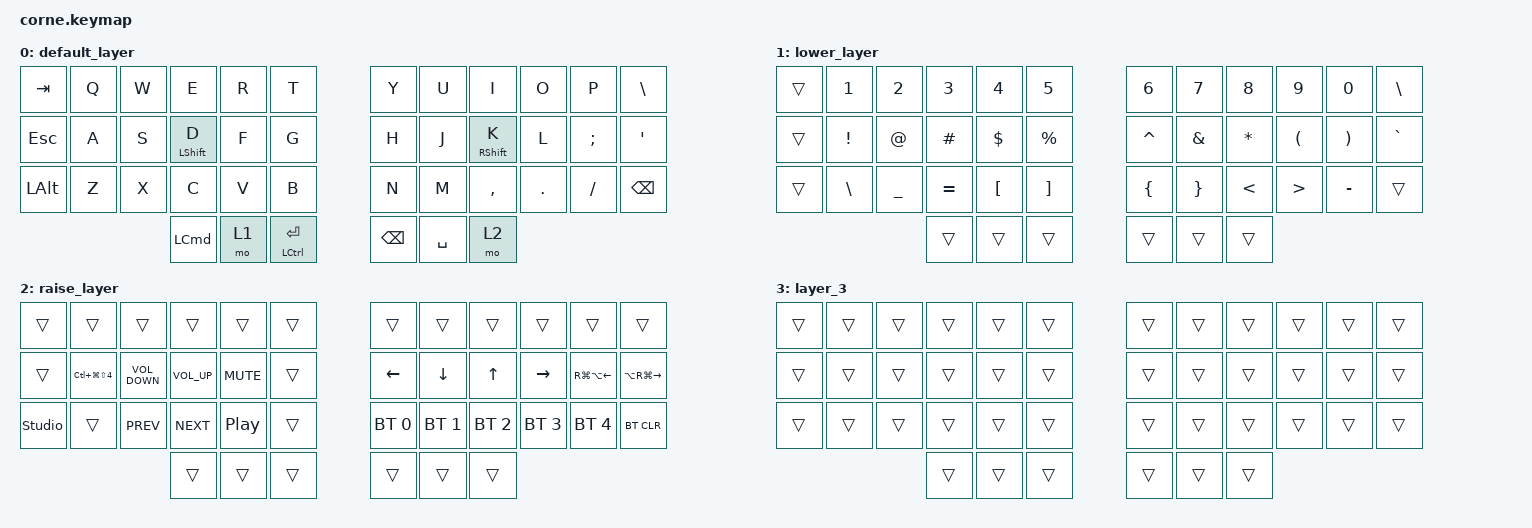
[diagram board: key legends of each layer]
/*
 * Copyright (c) 2020 The ZMK Contributors
 *
 * SPDX-License-Identifier: MIT
 */

#include <behaviors.dtsi>
#include <dt-bindings/zmk/bt.h>
#include <dt-bindings/zmk/keys.h>

/ {
    behaviors {
        // Home-row Shift: tap for the letter, hold for Shift.
        // Key positions (Corne 42): rows of 12, thumbs are 36-41.
        //   Left hand:  0-5, 12-17, 24-29, thumbs 36-38
        //   Right hand: 6-11, 18-23, 30-35, thumbs 39-41
        // hold-trigger-key-positions: only keys on the OTHER hand (plus all thumbs) can turn
        //   the key into Shift. Same-hand rolls like "df" or "kl" always type letters.
        // balanced: Shift only if the other key is pressed AND released while this one is held.
        // require-prior-idle-ms: pressed within this long after another key, it is always the
        //   letter. Lower it if a fast Space -> capital letter comes out lowercase.
        // quick-tap-ms: tap then hold again quickly to auto-repeat the letter.
        hrs_left: home_row_shift_left {
            compatible = "zmk,behavior-hold-tap";
            display-name = "Home Row Shift (Left)";
            #binding-cells = <2>;
            flavor = "balanced";
            tapping-term-ms = <200>;
            quick-tap-ms = <175>;
            require-prior-idle-ms = <50>;
            hold-trigger-key-positions = <6 7 8 9 10 11 18 19 20 21 22 23 30 31 32 33 34 35 36 37 38 39 40 41>;
            bindings = <&kp>, <&kp>;
        };
        hrs_right: home_row_shift_right {
            compatible = "zmk,behavior-hold-tap";
            display-name = "Home Row Shift (Right)";
            #binding-cells = <2>;
            flavor = "balanced";
            tapping-term-ms = <200>;
            quick-tap-ms = <175>;
            require-prior-idle-ms = <50>;
            hold-trigger-key-positions = <0 1 2 3 4 5 12 13 14 15 16 17 24 25 26 27 28 29 36 37 38 39 40 41>;
            bindings = <&kp>, <&kp>;
        };
    };

    keymap {
        compatible = "zmk,keymap";

        default_layer {
            // -----------------------------------------------------------------------------------------
            // |  TAB    |  Q  |  W  |  E  |  R  |  T  |   |  Y  |  U  |  I  |  O  |  P  |  \   |
            // |  ESC    |  A  |  S  |D/SFT|  F  |  G  |   |  H  |  J  |K/SFT|  L  |  ;  |  '   |
            // |   ALT   |  Z  |  X  |  C  |  V  |  B  |   |  N  |  M  |  ,  |  .  |  /  | BSPC |
            //                       | CMD | LWR | RET/CTRL |   | BSPC | SPC | RSE |

            bindings = <
&kp TAB               &kp Q  &kp W  &kp E                   &kp R  &kp T               &kp Y                     &kp U      &kp I      &kp O       &kp P     &kp BACKSLASH
&kp ESCAPE            &kp A  &kp S  &hrs_left LSHIFT D     &kp F  &kp G               &kp H                     &kp J      &hrs_right RSHIFT K  &kp L       &kp SEMI  &kp SQT
&kp LEFT_ALT          &kp Z  &kp X  &kp C                   &kp V  &kp B               &kp N                     &kp M      &kp COMMA  &kp PERIOD  &kp FSLH  &kp BACKSPACE
                                    &kp LEFT_COMMAND        &mo 1  &mt LCTRL RETURN    &kp BACKSPACE  &kp SPACE  &mo 2
            >;
        };

        lower_layer {
            // -----------------------------------------------------------------------------------------
            // |  TAB |  1  |  2  |  3  |  4  |  5  |   |  6  |  7  |  8  |  9  |  0  | BSPC |
            // | BTCLR| BT1 | BT2 | BT3 | BT4 | BT5 |   | LFT | DWN |  UP | RGT |     |      |
            // | SHFT |     |     |     |     |     |   |     |     |     |     |     |      |
            //                    | GUI |     | SPC |   | ENT |     | ALT |

            bindings = <
&trans  &kp N1           &kp N2          &kp N3     &kp N4            &kp N5               &kp N6          &kp N7           &kp N8         &kp N9                &kp N0                 &kp BACKSLASH
&trans  &kp EXCLAMATION  &kp AT_SIGN     &kp HASH   &kp DOLLAR        &kp PERCENT          &kp CARET       &kp AMPERSAND    &kp ASTERISK   &kp LEFT_PARENTHESIS  &kp RIGHT_PARENTHESIS  &kp GRAVE
&trans  &kp BACKSLASH    &kp UNDERSCORE  &kp EQUAL  &kp LEFT_BRACKET  &kp RIGHT_BRACKET    &kp LEFT_BRACE  &kp RIGHT_BRACE  &kp LESS_THAN  &kp GREATER_THAN      &kp MINUS              &trans
                                         &trans     &trans            &trans               &trans          &trans           &trans
            >;
        };

        raise_layer {
            // -----------------------------------------------------------------------------------------
            // |  TAB |  !  |  @  |  #  |  $  |  %  |   |  ^  |  &  |  *  |  (  |  )  | BSPC |
            // | CTRL |     |     |     |     |     |   |  -  |  =  |  [  |  ]  |  \  |  `   |
            // | SHFT |     |     |     |     |     |   |  _  |  +  |  {  |  }  | "|" |  ~   |
            //                    | GUI |     | SPC |   | ENT |     | ALT |

            bindings = <
&trans  &trans                    &trans             &trans           &trans            &trans    &trans          &trans          &trans        &trans           &trans                  &trans
&trans  &kp LC(LG(LS(NUMBER_4)))  &kp C_VOLUME_DOWN  &kp C_VOLUME_UP  &kp K_MUTE        &trans    &kp LEFT_ARROW  &kp DOWN_ARROW  &kp UP_ARROW  &kp RIGHT_ARROW  &kp RG(LA(LEFT_ARROW))  &kp LA(RG(RIGHT))
&studio_unlock  &trans                    &kp C_PREV         &kp C_NEXT       &kp C_PLAY_PAUSE  &trans    &bt BT_SEL 0    &bt BT_SEL 1    &bt BT_SEL 2  &bt BT_SEL 3     &bt BT_SEL 4            &bt BT_CLR
                                                     &trans           &trans            &trans    &trans          &trans          &trans
            >;
        };

        layer_3 {
            bindings = <
&trans  &trans  &trans  &trans  &trans  &trans    &trans  &trans  &trans  &trans  &trans  &trans
&trans  &trans  &trans  &trans  &trans  &trans    &trans  &trans  &trans  &trans  &trans  &trans
&trans  &trans  &trans  &trans  &trans  &trans    &trans  &trans  &trans  &trans  &trans  &trans
                        &trans  &trans  &trans    &trans  &trans  &trans
            >;
        };
    };
};

